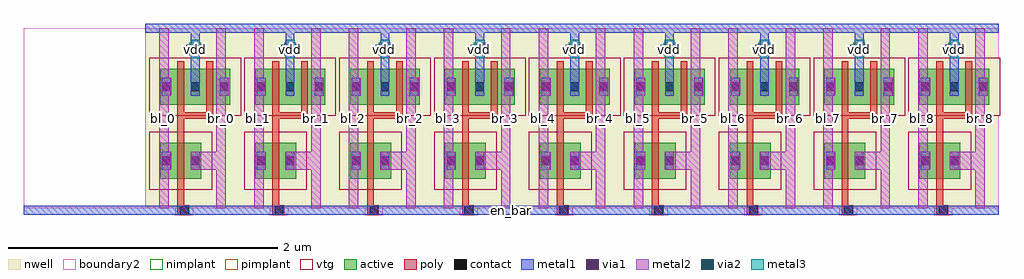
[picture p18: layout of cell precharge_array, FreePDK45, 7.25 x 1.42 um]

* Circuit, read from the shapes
.subckt precharge_array bl_0 bl_1 bl_2 bl_3 bl_4 bl_5 bl_6 bl_7 bl_8 br_0 br_1 br_2 br_3 br_4 br_5 br_6 br_7 br_8 en_bar vdd
M1 br_0 en_bar bl_0 vdd pfet w=0.27u l=0.05u
M2 vdd en_bar bl_0 vdd pfet w=0.27u l=0.05u
M3 br_0 en_bar vdd vdd pfet w=0.27u l=0.05u
M4 br_1 en_bar bl_1 vdd pfet w=0.27u l=0.05u
M5 vdd en_bar bl_1 vdd pfet w=0.27u l=0.05u
M6 br_1 en_bar vdd vdd pfet w=0.27u l=0.05u
M7 br_2 en_bar bl_2 vdd pfet w=0.27u l=0.05u
M8 vdd en_bar bl_2 vdd pfet w=0.27u l=0.05u
M9 br_2 en_bar vdd vdd pfet w=0.27u l=0.05u
M10 br_3 en_bar bl_3 vdd pfet w=0.27u l=0.05u
M11 vdd en_bar bl_3 vdd pfet w=0.27u l=0.05u
M12 br_3 en_bar vdd vdd pfet w=0.27u l=0.05u
M13 br_4 en_bar bl_4 vdd pfet w=0.27u l=0.05u
M14 vdd en_bar bl_4 vdd pfet w=0.27u l=0.05u
M15 br_4 en_bar vdd vdd pfet w=0.27u l=0.05u
M16 br_5 en_bar bl_5 vdd pfet w=0.27u l=0.05u
M17 vdd en_bar bl_5 vdd pfet w=0.27u l=0.05u
M18 br_5 en_bar vdd vdd pfet w=0.27u l=0.05u
M19 br_6 en_bar bl_6 vdd pfet w=0.27u l=0.05u
M20 vdd en_bar bl_6 vdd pfet w=0.27u l=0.05u
M21 br_6 en_bar vdd vdd pfet w=0.27u l=0.05u
M22 br_7 en_bar bl_7 vdd pfet w=0.27u l=0.05u
M23 vdd en_bar bl_7 vdd pfet w=0.27u l=0.05u
M24 br_7 en_bar vdd vdd pfet w=0.27u l=0.05u
M25 br_8 en_bar bl_8 vdd pfet w=0.27u l=0.05u
M26 vdd en_bar bl_8 vdd pfet w=0.27u l=0.05u
M27 br_8 en_bar vdd vdd pfet w=0.27u l=0.05u
.ends

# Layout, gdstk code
import gdstk
lib = gdstk.Library(unit=1e-6, precision=5e-10)
def R(c, l, rs):  # rectangles x0, y0, x1, y1
    for r in rs: c.add(gdstk.rectangle(r[:2], r[2:], *l))
def A(c, l, x, y, w, h, nx, ny, dx, dy):  # array of equal rectangles
    R(c, l, [(x+i*dx, y+j*dy, x+i*dx+w, y+j*dy+h) for i in range(nx) for j in range(ny)])
active = (1, 0)
nwell = (3, 0)
nimplant = (4, 0)
pimplant = (5, 0)
vtg = (6, 0)
poly = (9, 0)
contact = (10, 0)
metal1 = (11, 0)
via1 = (12, 0)
metal2 = (13, 0)
via2 = (14, 0)
metal3 = (15, 0)
boundary2 = (239, 0)

contact_11 = lib.new_cell('contact_11')
R(contact_11, active, [(0,0.0225,0.09,0.1125)])
R(contact_11, nwell, [(-0.055,-0.0325,0.145,0.1675)])
R(contact_11, pimplant, [(0,0.0225,0.09,0.1125)])
R(contact_11, contact, [(0.0125,0.035,0.0775,0.1)])
R(contact_11, metal1, [(0.0125,0,0.0775,0.135)])
R(contact_11, boundary2, [(-0.055,-0.0325,0.145,0.1675)])

pmos_m1_w0_270_sm1_dm1 = lib.new_cell('pmos_m1_w0_270_sm1_dm1')
R(pmos_m1_w0_270_sm1_dm1, active, [(0,0,0.305,0.27)])
R(pmos_m1_w0_270_sm1_dm1, nwell, [(-0.08,-0.08,0.385,0.35)])
R(pmos_m1_w0_270_sm1_dm1, pimplant, [(0,0,0.305,0.27)])
R(pmos_m1_w0_270_sm1_dm1, vtg, [(-0.08,-0.08,0.385,0.35)])
R(pmos_m1_w0_270_sm1_dm1, poly, [(0.1275,-0.055,0.1775,0.325), (0.1275,-0.055,0.1775,0.325)])
R(pmos_m1_w0_270_sm1_dm1, metal1, [(0.0125,0.0675,0.0775,0.2025), (0.2275,0.0675,0.2925,0.2025)])
R(pmos_m1_w0_270_sm1_dm1, boundary2, [(-0.08,-0.08,0.385,0.35)])
pmos_m1_w0_270_sm1_dm1.add(gdstk.Reference(contact_11, (0,0.0675)))
pmos_m1_w0_270_sm1_dm1.add(gdstk.Reference(contact_11, (0.215,0.0675)))
pmos_m1_w0_270_sm1_dm1.add(gdstk.Label('G', (0.1525,0.135), layer=9, texttype=0))
pmos_m1_w0_270_sm1_dm1.add(gdstk.Label('S', (0.045,0.135), layer=11, texttype=0))
pmos_m1_w0_270_sm1_dm1.add(gdstk.Label('D', (0.26,0.135), layer=11, texttype=0))

contact_14 = lib.new_cell('contact_14')
R(contact_14, poly, [(0.03,0,0.105,0.075)])
R(contact_14, contact, [(0.035,0.005,0.1,0.07)])
R(contact_14, metal1, [(0,0.005,0.135,0.07)])
R(contact_14, boundary2, [(0,0,0.135,0.075)])

contact_20 = lib.new_cell('contact_20')
R(contact_20, active, [(0.0225,0,0.1125,0.09)])
R(contact_20, nwell, [(-0.0325,-0.055,0.1675,0.145)])
R(contact_20, nimplant, [(0.0225,0,0.1125,0.09)])
R(contact_20, contact, [(0.035,0.0125,0.1,0.0775)])
R(contact_20, metal1, [(0,0.0125,0.135,0.0775)])
R(contact_20, boundary2, [(-0.0325,-0.055,0.1675,0.145)])

contact_17 = lib.new_cell('contact_17')
R(contact_17, metal1, [(0,0.035,0.135,0.1)])
R(contact_17, via1, [(0.035,0.035,0.1,0.1)])
R(contact_17, metal2, [(0.0325,0,0.1025,0.135)])
R(contact_17, boundary2, [(0,0,0.135,0.135)])

contact_21 = lib.new_cell('contact_21')
R(contact_21, metal1, [(0.0025,0,0.0675,0.135)])
R(contact_21, via1, [(0.0025,0.035,0.0675,0.1)])
R(contact_21, metal2, [(0,0,0.07,0.135)])
R(contact_21, boundary2, [(0,0,0.07,0.135)])

contact_22 = lib.new_cell('contact_22')
R(contact_22, metal2, [(0,0,0.07,0.135)])
R(contact_22, via2, [(0.0025,0.035,0.0675,0.1)])
R(contact_22, metal3, [(0,0,0.07,0.135)])
R(contact_22, boundary2, [(0,0,0.07,0.135)])

precharge_0 = lib.new_cell('precharge_0')
R(precharge_0, nwell, [(0,0,0.705,1.34)])
R(precharge_0, poly, [(0.24,-0.0375,0.29,0.0125), (0.265,-0.0375,0.29,0.0125), (0.24,-0.0125,0.29,0.165), (0.24,0.545,0.29,0.715), (0.24,0.665,0.505,0.715)])
R(precharge_0, metal1, [(0,-0.045,0.705,0.02), (0.34,0.8725,0.405,0.9375), (0.34,0.905,0.405,1.34), (0,1.3075,0.705,1.3725)])
R(precharge_0, metal2, [(0.105,0,0.175,1.34), (0.105,0,0.175,1.34), (0.53,0,0.6,1.34), (0.53,0,0.6,1.34), (0.14,0.2875,0.1575,0.4225), (0.3725,0.2875,0.565,0.4225), (0.14,0.8375,0.1575,0.9725), (0.565,0.8375,0.5875,0.9725)])
R(precharge_0, metal3, [(0.3375,1.1175,0.4075,1.2525)])
R(precharge_0, boundary2, [(0,0,0.705,1.34)])
precharge_0.add(gdstk.Reference(pmos_m1_w0_270_sm1_dm1, (0.1125,0.22)))
precharge_0.add(gdstk.Reference(pmos_m1_w0_270_sm1_dm1, (0.1125,0.77)))
precharge_0.add(gdstk.Reference(pmos_m1_w0_270_sm1_dm1, (0.3275,0.77)))
precharge_0.add(gdstk.Reference(contact_14, (0.2225,-0.05)))
precharge_0.add(gdstk.Reference(contact_20, (0.305,1.14)))
precharge_0.add(gdstk.Reference(contact_17, (0.305,1.1175)))
precharge_0.add(gdstk.Reference(contact_21, (0.3375,1.1175)))
precharge_0.add(gdstk.Reference(contact_22, (0.3375,1.1175)))
precharge_0.add(gdstk.Reference(contact_21, (0.1225,0.2875)))
precharge_0.add(gdstk.Reference(contact_21, (0.3375,0.2875)))
precharge_0.add(gdstk.Reference(contact_21, (0.1225,0.8375)))
precharge_0.add(gdstk.Reference(contact_21, (0.5525,0.8375)))
precharge_0.add(gdstk.Label('en_bar', (0.3525,-0.0125), layer=11, texttype=0))
precharge_0.add(gdstk.Label('vdd', (0.3725,1.185), layer=15, texttype=0))
precharge_0.add(gdstk.Label('bl', (0.14,0.67), layer=13, texttype=0))
precharge_0.add(gdstk.Label('br', (0.565,0.67), layer=13, texttype=0))

precharge_array = lib.new_cell('precharge_array')
A(precharge_array, metal1, 1.22, -0.045, 0.065, 0.065, 9, 1, 0.705, 0)
R(precharge_array, metal1, [(0,-0.045,7.245,0.02)])
R(precharge_array, metal2, [(1.005,0,1.075,1.34), (1.43,0,1.5,1.34), (1.71,0,1.78,1.34), (2.135,0,2.205,1.34), (2.415,0,2.485,1.34), (2.84,0,2.91,1.34), (3.12,0,3.19,1.34), (3.545,0,3.615,1.34), (3.825,0,3.895,1.34), (4.25,0,4.32,1.34), (4.53,0,4.6,1.34), (4.955,0,5.025,1.34), (5.235,0,5.305,1.34), (5.66,0,5.73,1.34), (5.94,0,6.01,1.34), (6.365,0,6.435,1.34), (6.645,0,6.715,1.34), (7.07,0,7.14,1.34)])
A(precharge_array, metal3, 1.2375, 1.1175, 0.07, 0.135, 9, 1, 0.705, 0)
R(precharge_array, boundary2, [(0,0,7.245,1.34)])
precharge_array.add(gdstk.Reference(precharge_0, (0.9,0)))
precharge_array.add(gdstk.Reference(precharge_0, (1.605,0)))
precharge_array.add(gdstk.Reference(precharge_0, (2.31,0)))
precharge_array.add(gdstk.Reference(precharge_0, (3.015,0)))
precharge_array.add(gdstk.Reference(precharge_0, (3.72,0)))
precharge_array.add(gdstk.Reference(precharge_0, (4.425,0)))
precharge_array.add(gdstk.Reference(precharge_0, (5.13,0)))
precharge_array.add(gdstk.Reference(precharge_0, (5.835,0)))
precharge_array.add(gdstk.Reference(precharge_0, (6.54,0)))
precharge_array.add(gdstk.Label('en_bar', (3.6225,-0.0125), layer=11, texttype=0))
precharge_array.add(gdstk.Label('vdd', (3.3875,1.185), layer=15, texttype=0))
precharge_array.add(gdstk.Label('vdd', (4.0925,1.185), layer=15, texttype=0))
precharge_array.add(gdstk.Label('vdd', (2.6825,1.185), layer=15, texttype=0))
precharge_array.add(gdstk.Label('vdd', (4.7975,1.185), layer=15, texttype=0))
precharge_array.add(gdstk.Label('vdd', (6.2075,1.185), layer=15, texttype=0))
precharge_array.add(gdstk.Label('vdd', (1.2725,1.185), layer=15, texttype=0))
precharge_array.add(gdstk.Label('vdd', (1.9775,1.185), layer=15, texttype=0))
precharge_array.add(gdstk.Label('vdd', (5.5025,1.185), layer=15, texttype=0))
precharge_array.add(gdstk.Label('vdd', (6.9125,1.185), layer=15, texttype=0))
precharge_array.add(gdstk.Label('bl_0', (1.04,0.67), layer=13, texttype=0))
precharge_array.add(gdstk.Label('br_0', (1.465,0.67), layer=13, texttype=0))
precharge_array.add(gdstk.Label('bl_1', (1.745,0.67), layer=13, texttype=0))
precharge_array.add(gdstk.Label('br_1', (2.17,0.67), layer=13, texttype=0))
precharge_array.add(gdstk.Label('bl_2', (2.45,0.67), layer=13, texttype=0))
precharge_array.add(gdstk.Label('br_2', (2.875,0.67), layer=13, texttype=0))
precharge_array.add(gdstk.Label('bl_3', (3.155,0.67), layer=13, texttype=0))
precharge_array.add(gdstk.Label('br_3', (3.58,0.67), layer=13, texttype=0))
precharge_array.add(gdstk.Label('bl_4', (3.86,0.67), layer=13, texttype=0))
precharge_array.add(gdstk.Label('br_4', (4.285,0.67), layer=13, texttype=0))
precharge_array.add(gdstk.Label('bl_5', (4.565,0.67), layer=13, texttype=0))
precharge_array.add(gdstk.Label('br_5', (4.99,0.67), layer=13, texttype=0))
precharge_array.add(gdstk.Label('bl_6', (5.27,0.67), layer=13, texttype=0))
precharge_array.add(gdstk.Label('br_6', (5.695,0.67), layer=13, texttype=0))
precharge_array.add(gdstk.Label('bl_7', (5.975,0.67), layer=13, texttype=0))
precharge_array.add(gdstk.Label('br_7', (6.4,0.67), layer=13, texttype=0))
precharge_array.add(gdstk.Label('bl_8', (6.68,0.67), layer=13, texttype=0))
precharge_array.add(gdstk.Label('br_8', (7.105,0.67), layer=13, texttype=0))

lib.write_gds('precharge_array.gds')
